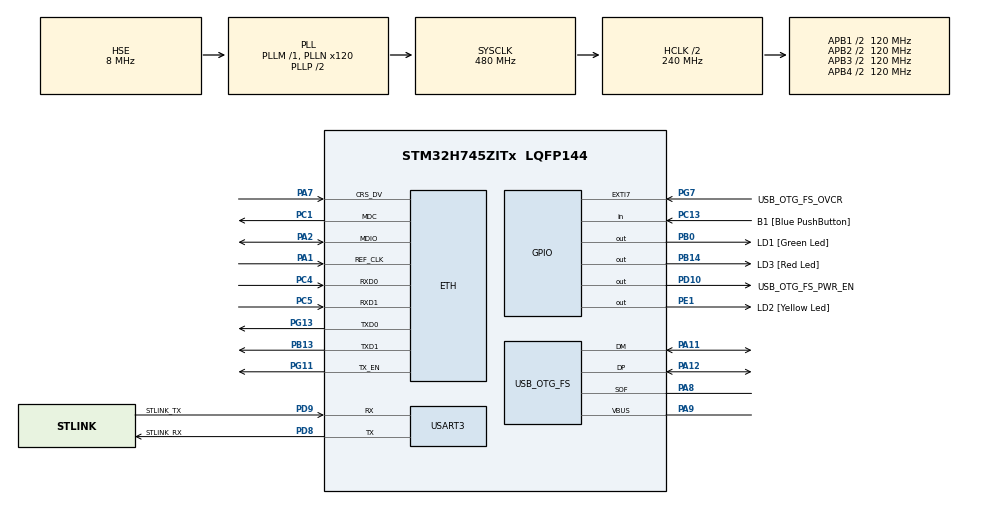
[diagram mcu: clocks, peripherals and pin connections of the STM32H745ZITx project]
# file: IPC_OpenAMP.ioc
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CORTEX_M7.AccessPermission-Cortex_Memory_Protection_Unit_Region0_Settings=MPU_REGION_FULL_ACCESS
CORTEX_M7.BaseAddress-Cortex_Memory_Protection_Unit_Region0_Settings=0x38000000
CORTEX_M7.CPU_DCache=Enabled
CORTEX_M7.CPU_ICache=Enabled
CORTEX_M7.Enable-Cortex_Memory_Protection_Unit_Region0_Settings=MPU_REGION_ENABLE
CORTEX_M7.IsShareable-Cortex_Memory_Protection_Unit_Region0_Settings=MPU_ACCESS_SHAREABLE
CORTEX_M7.MPU_Control=MPU_PRIVILEGED_DEFAULT
CORTEX_M7.Size-Cortex_Memory_Protection_Unit_Region0_Settings=MPU_REGION_SIZE_64KB
CortexM4.IPs=FATFS_M4\:I,FREERTOS_M4\:I,IWDG2\:I,RCC,WWDG2\:I,DMA,BDMA,MDMA,NVIC2\:I,USART3,ETH,DEBUG,USB_DEVICE_M4\:I,USB_HOST_M4\:I,PDM2PCM_M4\:I,PWR,RESMGR_UTILITY,SYS_M4\:I,CORTEX_M4\:I,OPENAMP_M4\:I,VREFBUF
CortexM4.Pins=PB14
CortexM7.IPs=FATFS_M7\:I,FREERTOS_M7\:I,IWDG1\:I,RCC\:I,WWDG1\:I,DMA\:I,BDMA\:I,MDMA\:I,NVIC1\:I,SYS\:I,USART3\:I,USB_OTG_FS\:I,ETH\:I,CORTEX_M7\:I,DEBUG\:I,USB_DEVICE_M7\:I,USB_HOST_M7\:I,PDM2PCM_M7\:I,PWR\:I,RESMGR_UTILITY\:I,OPENAMP_M7\:I,VREFBUF\:I
CortexM7.Pins=PC13,PB0,PE1
ETH.MediaInterface=HAL_ETH_RMII_MODE
Mcu.Family=STM32H7
Mcu.Name=STM32H745ZITx
Mcu.Package=LQFP144
NVIC1.HSEM1_IRQn=true\:0\:0\:false\:false\:true\:true\:true\:true
NVIC1.PriorityGroup=NVIC_PRIORITYGROUP_4
NVIC2.HSEM2_IRQn=true\:0\:0\:false\:false\:true\:true\:true\:true
NVIC2.PriorityGroup=NVIC_PRIORITYGROUP_4
PA1.Mode=RMII
PA1.PinAttribute=CortexM7
PA1.Signal=ETH_REF_CLK
PA11.Mode=Device_Only
PA11.PinAttribute=CortexM7
PA11.Signal=USB_OTG_FS_DM
PA12.Mode=Device_Only
PA12.PinAttribute=CortexM7
PA12.Signal=USB_OTG_FS_DP
PA2.Mode=RMII
PA2.PinAttribute=CortexM7
PA2.Signal=ETH_MDIO
PA7.Mode=RMII
PA7.PinAttribute=CortexM7
PA7.Signal=ETH_CRS_DV
PA8.Mode=Activate_SOF_FS
PA8.PinAttribute=CortexM7
PA8.Signal=USB_OTG_FS_SOF
PA9.Mode=Activate_VBUS
PA9.PinAttribute=CortexM7
PA9.Signal=USB_OTG_FS_VBUS
PB0.GPIO_Label=LD1 [Green Led]
PB0.PinAttribute=CortexM7
PB0.Signal=GPIO_Output
PB13.Mode=RMII
PB13.PinAttribute=CortexM7
PB13.Signal=ETH_TXD1
PB14.GPIO_Label=LD3 [Red Led]
PB14.PinAttribute=CortexM4
PB14.Signal=GPIO_Output
PC1.Mode=RMII
PC1.PinAttribute=CortexM7
PC1.Signal=ETH_MDC
PC13.GPIO_Label=B1 [Blue PushButton]
PC13.PinAttribute=CortexM7
PC13.Signal=GPIO_Input
PC14-OSC32_IN\ (OSC32_IN).Mode=LSE-External-Oscillator
PC14-OSC32_IN\ (OSC32_IN).PinAttribute=CortexM7
PC14-OSC32_IN\ (OSC32_IN).Signal=RCC_OSC32_IN
PC15-OSC32_OUT\ (OSC32_OUT).Mode=LSE-External-Oscillator
PC15-OSC32_OUT\ (OSC32_OUT).PinAttribute=CortexM7
PC15-OSC32_OUT\ (OSC32_OUT).Signal=RCC_OSC32_OUT
PC4.Mode=RMII
PC4.PinAttribute=CortexM7
PC4.Signal=ETH_RXD0
PC5.Mode=RMII
PC5.PinAttribute=CortexM7
PC5.Signal=ETH_RXD1
PD10.GPIO_Label=USB_OTG_FS_PWR_EN
PD10.PinAttribute=Free
PD10.Signal=GPIO_Output
PD8.GPIO_Label=STLINK_RX
PD8.Mode=Asynchronous
PD8.PinAttribute=CortexM7
PD8.Signal=USART3_TX
PD9.GPIO_Label=STLINK_TX
PD9.Mode=Asynchronous
PD9.PinAttribute=CortexM7
PD9.Signal=USART3_RX
PE1.GPIO_Label=LD2 [Yellow Led]
PE1.PinAttribute=CortexM7
PE1.Signal=GPIO_Output
PG11.Mode=RMII
PG11.PinAttribute=CortexM7
PG11.Signal=ETH_TX_EN
PG13.Mode=RMII
PG13.PinAttribute=CortexM7
PG13.Signal=ETH_TXD0
PG7.GPIO_Label=USB_OTG_FS_OVCR
PG7.PinAttribute=Free
PG7.Signal=GPXTI7
PH0-OSC_IN\ (PH0).Mode=HSE-External-Clock-Source
PH0-OSC_IN\ (PH0).PinAttribute=CortexM7
PH0-OSC_IN\ (PH0).Signal=RCC_OSC_IN
PH1-OSC_OUT\ (PH1).PinAttribute=CortexM7
PH1-OSC_OUT\ (PH1).Signal=RCC_OSC_OUT
ProjectManager.HeapSize=M4-0x200,M7-0x200
ProjectManager.StackSize=M4-0x400,M7-0x400
ProjectManager.TargetToolchain=STM32CubeIDE
RCC.ADCFreq_Value=16125000
RCC.APB1Freq_Value=120000000
RCC.APB2Freq_Value=120000000
RCC.APB3Freq_Value=120000000
RCC.APB4Freq_Value=120000000
RCC.CortexFreq_Value=480000000
RCC.D1PPRE=RCC_APB3_DIV2
RCC.D2PPRE1=RCC_APB1_DIV2
RCC.D2PPRE2=RCC_APB2_DIV2
RCC.D3PPRE=RCC_APB4_DIV2
RCC.DIVM1=1
RCC.DIVM3=1
RCC.DIVN1=120
RCC.DIVN3=24
RCC.DIVQ3=4
RCC.HCLKFreq_Value=240000000
RCC.HPRE=RCC_HCLK_DIV2
RCC.HSE_VALUE=8000000
RCC.PLL2FRACN=0
RCC.PLL3FRACN=0
RCC.PLLFRACN=0
RCC.SYSCLKFreq_VALUE=480000000
RCC.SYSCLKSource=RCC_SYSCLKSOURCE_PLLCLK
RCC.SupplySource=PWR_DIRECT_SMPS_SUPPLY
RCC.USBCLockSelection=RCC_USBCLKSOURCE_PLL3
RCC.USBFreq_Value=48000000
USART3.VirtualMode-Asynchronous=VM_ASYNC
USB_OTG_FS.VirtualMode=Device_Only
VP_OPENAMP_M4_VS_OPENAMP.Mode=OpenAmp_Enabled
VP_OPENAMP_M7_VS_OPENAMP.Mode=OpenAmp_Enabled
VP_SYS_M4_VS_Systick.Mode=SysTick
board=NUCLEO-H745ZI-Q

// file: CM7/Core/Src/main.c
/* USER CODE BEGIN Header */
/**
  ******************************************************************************
  * @file           : main.c
  * @brief          : Main program body
  ******************************************************************************
  * @attention
  *
  * Copyright (c) 2022 STMicroelectronics.
  * All rights reserved.
  *
  * This software is licensed under terms that can be found in the LICENSE file
  * in the root directory of this software component.
  * If no LICENSE file comes with this software, it is provided AS-IS.
  *
  ******************************************************************************
  */
/* USER CODE END Header */
#include "main.h"
#include "string.h"
#include "openamp.h"

/* USER CODE BEGIN PD */

#define RPMSG_CHAN_NAME "openamp_demo"

#ifndef HSEM_ID_0
#define HSEM_ID_0 (0U) /* HW semaphore 0*/
#endif
/* USER CODE END PD */

#if defined ( __ICCARM__ ) /*!< IAR Compiler */
#pragma location=0x30000000
ETH_DMADescTypeDef  DMARxDscrTab[ETH_RX_DESC_CNT]; /* Ethernet Rx DMA Descriptors */
#pragma location=0x30000200
ETH_DMADescTypeDef  DMATxDscrTab[ETH_TX_DESC_CNT]; /* Ethernet Tx DMA Descriptors */
#pragma location=0x30000260
uint8_t Rx_Buff[ETH_RX_DESC_CNT][ETH_MAX_PACKET_SIZE]; /* Ethernet Receive Buffers */

#elif defined ( __CC_ARM )  /* MDK ARM Compiler */

__attribute__((at(0x30000000))) ETH_DMADescTypeDef  DMARxDscrTab[ETH_RX_DESC_CNT]; /* Ethernet Rx DMA Descriptors */
__attribute__((at(0x30000200))) ETH_DMADescTypeDef  DMATxDscrTab[ETH_TX_DESC_CNT]; /* Ethernet Tx DMA Descriptors */
__attribute__((at(0x30000260))) uint8_t Rx_Buff[ETH_RX_DESC_CNT][ETH_MAX_PACKET_SIZE]; /* Ethernet Receive Buffer */

#elif defined ( __GNUC__ ) /* GNU Compiler */
ETH_DMADescTypeDef DMARxDscrTab[ETH_RX_DESC_CNT] __attribute__((section(".RxDecripSection"))); /* Ethernet Rx DMA Descriptors */
ETH_DMADescTypeDef DMATxDscrTab[ETH_TX_DESC_CNT] __attribute__((section(".TxDecripSection")));   /* Ethernet Tx DMA Descriptors */
uint8_t Rx_Buff[ETH_RX_DESC_CNT][ETH_MAX_PACKET_SIZE] __attribute__((section(".RxArraySection"))); /* Ethernet Receive Buffers */
#endif

ETH_TxPacketConfig TxConfig;

ETH_HandleTypeDef heth;

UART_HandleTypeDef huart3;

PCD_HandleTypeDef hpcd_USB_OTG_FS;

/* USER CODE BEGIN PV */
char str2cm4[] = "Bare-Metal programming - sending str from CM7 to CM4 core using OpenAMP framework";

static volatile int message_received;
static volatile int service_created;
volatile unsigned int received_data_str;
static struct rpmsg_endpoint rp_endpoint;

/* USER CODE END PV */

void SystemClock_Config(void);
static void MPU_Config(void);
static void MX_GPIO_Init(void);
static void MX_ETH_Init(void);
static void MX_USART3_UART_Init(void);
static void MX_USB_OTG_FS_PCD_Init(void);
/* USER CODE BEGIN PFP */

static int rpmsg_recv_callback(struct rpmsg_endpoint *ept, void *data, size_t len, uint32_t src, void *priv);

unsigned int receive_message(void);

void service_destroy_cb(struct rpmsg_endpoint *ept);

void new_service_cb(struct rpmsg_device *rdev, const char *name, uint32_t dest);

/* USER CODE END PFP */

/* USER CODE BEGIN 0 */
int __io_putchar(int ch)
{
    uint8_t c[1];
    c[0] = ch & 0x00FF;
    HAL_UART_Transmit(&huart3, &*c, 1, HAL_MAX_DELAY);
    return ch;
}

int _write(int file,char *ptr, int len)
{
    HAL_UART_Transmit(&huart3, (uint8_t *)ptr, len, HAL_MAX_DELAY);
    return len;
}
/* USER CODE END 0 */

int main(void)
{
  /* USER CODE BEGIN 1 */
uint8_t i=0;
  /* USER CODE END 1 */
/* USER CODE BEGIN Boot_Mode_Sequence_0 */
  int32_t timeout;
/* USER CODE END Boot_Mode_Sequence_0 */

  /* MPU Configuration--------------------------------------------------------*/
  MPU_Config();

  /* Enable I-Cache---------------------------------------------------------*/
  SCB_EnableICache();

  /* Enable D-Cache---------------------------------------------------------*/
  SCB_EnableDCache();

/* USER CODE BEGIN Boot_Mode_Sequence_1 */
  /* Wait until CPU2 boots and enters in stop mode or timeout*/
  timeout = 0xFFFF;
  while((__HAL_RCC_GET_FLAG(RCC_FLAG_D2CKRDY) != RESET) && (timeout-- > 0));
  if ( timeout < 0 )
  {
  Error_Handler();
  }
/* USER CODE END Boot_Mode_Sequence_1 */
  /* MCU Configuration--------------------------------------------------------*/

  /* Reset of all peripherals, Initializes the Flash interface and the Systick. */
  HAL_Init();

  /* Configure the system clock */
  SystemClock_Config();
/* USER CODE BEGIN Boot_Mode_Sequence_2 */
/* When system initialization is finished, Cortex-M7 will release Cortex-M4 by means of
HSEM notification */
/*HW semaphore Clock enable*/
__HAL_RCC_HSEM_CLK_ENABLE();
/*Take HSEM */
HAL_HSEM_FastTake(HSEM_ID_0);
/*Release HSEM in order to notify the CPU2(CM4)*/
HAL_HSEM_Release(HSEM_ID_0,0);
/* wait until CPU2 wakes up from stop mode */
timeout = 0xFFFF;
while((__HAL_RCC_GET_FLAG(RCC_FLAG_D2CKRDY) == RESET) && (timeout-- > 0));
if ( timeout < 0 )
{
Error_Handler();
}
/* USER CODE END Boot_Mode_Sequence_2 */

  /* Initialize all configured peripherals */
  MX_GPIO_Init();
  MX_ETH_Init();
  MX_USART3_UART_Init();
  MX_USB_OTG_FS_PCD_Init();
  /* USER CODE BEGIN 2 */
  int32_t status = 0;

  /* Initialize the mailbox use notify the other core on new message */
  //printf("String: %s\n\r", "Init Open AMP M7");
  MAILBOX_Init();

  /* Initialize the rpmsg endpoint to set default addresses to RPMSG_ADDR_ANY */
  //printf("String: %s\n\r", "Init RPMSG M7");
  rpmsg_init_ept(&rp_endpoint, RPMSG_CHAN_NAME, RPMSG_ADDR_ANY, RPMSG_ADDR_ANY, NULL, NULL);
  //printf("String: %s\n\r", "Init EP M7");
  /* Initialize OpenAmp and libmetal libraries */
  if (MX_OPENAMP_Init(RPMSG_MASTER, new_service_cb)!= HAL_OK)
  {
  //printf("String: %s\n\r", "Init EP Error M7");
  Error_Handler();
  }

  /*
  *	The rpmsg service is initiate by the remote processor, on A7 new_service_cb
  *	callback is received on service creation. Wait for the callback
  */
  HAL_GPIO_TogglePin(LD1_GPIO_Port, LD1_Pin);
  //printf("String: %s\n\r", "wait on M4 from M7");
  OPENAMP_Wait_EndPointready(&rp_endpoint);

  while(i<5)
  {
	  HAL_GPIO_TogglePin(LD1_GPIO_Port, LD1_Pin);
	  status = OPENAMP_send(&rp_endpoint, str2cm4, strlen(str2cm4) +1);
	  HAL_Delay(1000);
	  if (status < 0)
	  {
		  Error_Handler();
	  }
	  i++;
 }
  /* Wait that service is destroyed on remote side */
  while(service_created)
  {
  OPENAMP_check_for_message();
  }

  /* De-initialize OpenAMP */
  OPENAMP_DeInit();
  /* USER CODE END 2 */

  /* Infinite loop */
  while (1)
  {

  }
}

void SystemClock_Config(void)
{
  RCC_OscInitTypeDef RCC_OscInitStruct = {0};
  RCC_ClkInitTypeDef RCC_ClkInitStruct = {0};

  /** Supply configuration update enable
  */
  HAL_PWREx_ConfigSupply(PWR_DIRECT_SMPS_SUPPLY);

  /** Configure the main internal regulator output voltage
  */
  __HAL_PWR_VOLTAGESCALING_CONFIG(PWR_REGULATOR_VOLTAGE_SCALE0);

  while(!__HAL_PWR_GET_FLAG(PWR_FLAG_VOSRDY)) {}

  /** Macro to configure the PLL clock source
  */
  __HAL_RCC_PLL_PLLSOURCE_CONFIG(RCC_PLLSOURCE_HSE);

  /** Initializes the RCC Oscillators according to the specified parameters
  * in the RCC_OscInitTypeDef structure.
  */
  RCC_OscInitStruct.OscillatorType = RCC_OSCILLATORTYPE_HSE;
  RCC_OscInitStruct.HSEState = RCC_HSE_BYPASS;
  RCC_OscInitStruct.PLL.PLLState = RCC_PLL_ON;
  RCC_OscInitStruct.PLL.PLLSource = RCC_PLLSOURCE_HSE;
  RCC_OscInitStruct.PLL.PLLM = 1;
  RCC_OscInitStruct.PLL.PLLN = 120;
  RCC_OscInitStruct.PLL.PLLP = 2;
  RCC_OscInitStruct.PLL.PLLQ = 2;
  RCC_OscInitStruct.PLL.PLLR = 2;
  RCC_OscInitStruct.PLL.PLLRGE = RCC_PLL1VCIRANGE_3;
  RCC_OscInitStruct.PLL.PLLVCOSEL = RCC_PLL1VCOWIDE;
  RCC_OscInitStruct.PLL.PLLFRACN = 0;
  if (HAL_RCC_OscConfig(&RCC_OscInitStruct) != HAL_OK)
  {
    Error_Handler();
  }

  /** Initializes the CPU, AHB and APB buses clocks
  */
  RCC_ClkInitStruct.ClockType = RCC_CLOCKTYPE_HCLK|RCC_CLOCKTYPE_SYSCLK
                              |RCC_CLOCKTYPE_PCLK1|RCC_CLOCKTYPE_PCLK2
                              |RCC_CLOCKTYPE_D3PCLK1|RCC_CLOCKTYPE_D1PCLK1;
  RCC_ClkInitStruct.SYSCLKSource = RCC_SYSCLKSOURCE_PLLCLK;
  RCC_ClkInitStruct.SYSCLKDivider = RCC_SYSCLK_DIV1;
  RCC_ClkInitStruct.AHBCLKDivider = RCC_HCLK_DIV2;
  RCC_ClkInitStruct.APB3CLKDivider = RCC_APB3_DIV2;
  RCC_ClkInitStruct.APB1CLKDivider = RCC_APB1_DIV2;
  RCC_ClkInitStruct.APB2CLKDivider = RCC_APB2_DIV2;
  RCC_ClkInitStruct.APB4CLKDivider = RCC_APB4_DIV2;

  if (HAL_RCC_ClockConfig(&RCC_ClkInitStruct, FLASH_LATENCY_4) != HAL_OK)
  {
    Error_Handler();
  }
}

static void MX_ETH_Init(void)
{

   static uint8_t MACAddr[6];

  heth.Instance = ETH;
  MACAddr[0] = 0x00;
  MACAddr[1] = 0x80;
  MACAddr[2] = 0xE1;
  MACAddr[3] = 0x00;
  MACAddr[4] = 0x00;
  MACAddr[5] = 0x00;
  heth.Init.MACAddr = &MACAddr[0];
  heth.Init.MediaInterface = HAL_ETH_RMII_MODE;
  heth.Init.TxDesc = DMATxDscrTab;
  heth.Init.RxDesc = DMARxDscrTab;
  heth.Init.RxBuffLen = 1524;

  if (HAL_ETH_Init(&heth) != HAL_OK)
  {
    Error_Handler();
  }

  memset(&TxConfig, 0 , sizeof(ETH_TxPacketConfig));
  TxConfig.Attributes = ETH_TX_PACKETS_FEATURES_CSUM | ETH_TX_PACKETS_FEATURES_CRCPAD;
  TxConfig.ChecksumCtrl = ETH_CHECKSUM_IPHDR_PAYLOAD_INSERT_PHDR_CALC;
  TxConfig.CRCPadCtrl = ETH_CRC_PAD_INSERT;

}

static void MX_USART3_UART_Init(void)
{

  huart3.Instance = USART3;
  huart3.Init.BaudRate = 115200;
  huart3.Init.WordLength = UART_WORDLENGTH_8B;
  huart3.Init.StopBits = UART_STOPBITS_1;
  huart3.Init.Parity = UART_PARITY_NONE;
  huart3.Init.Mode = UART_MODE_TX_RX;
  huart3.Init.HwFlowCtl = UART_HWCONTROL_NONE;
  huart3.Init.OverSampling = UART_OVERSAMPLING_16;
  huart3.Init.OneBitSampling = UART_ONE_BIT_SAMPLE_DISABLE;
  huart3.Init.ClockPrescaler = UART_PRESCALER_DIV1;
  huart3.AdvancedInit.AdvFeatureInit = UART_ADVFEATURE_NO_INIT;
  if (HAL_UART_Init(&huart3) != HAL_OK)
  {
    Error_Handler();
  }
  if (HAL_UARTEx_SetTxFifoThreshold(&huart3, UART_TXFIFO_THRESHOLD_1_8) != HAL_OK)
  {
    Error_Handler();
  }
  if (HAL_UARTEx_SetRxFifoThreshold(&huart3, UART_RXFIFO_THRESHOLD_1_8) != HAL_OK)
  {
    Error_Handler();
  }
  if (HAL_UARTEx_DisableFifoMode(&huart3) != HAL_OK)
  {
    Error_Handler();
  }

}

static void MX_USB_OTG_FS_PCD_Init(void)
{

  hpcd_USB_OTG_FS.Instance = USB_OTG_FS;
  hpcd_USB_OTG_FS.Init.dev_endpoints = 9;
  hpcd_USB_OTG_FS.Init.speed = PCD_SPEED_FULL;
  hpcd_USB_OTG_FS.Init.dma_enable = DISABLE;
  hpcd_USB_OTG_FS.Init.phy_itface = PCD_PHY_EMBEDDED;
  hpcd_USB_OTG_FS.Init.Sof_enable = DISABLE;
  hpcd_USB_OTG_FS.Init.low_power_enable = DISABLE;
  hpcd_USB_OTG_FS.Init.lpm_enable = DISABLE;
  hpcd_USB_OTG_FS.Init.battery_charging_enable = ENABLE;
  hpcd_USB_OTG_FS.Init.vbus_sensing_enable = ENABLE;
  hpcd_USB_OTG_FS.Init.use_dedicated_ep1 = DISABLE;
  if (HAL_PCD_Init(&hpcd_USB_OTG_FS) != HAL_OK)
  {
    Error_Handler();
  }

}

static void MX_GPIO_Init(void)
{
  GPIO_InitTypeDef GPIO_InitStruct = {0};

  /* GPIO Ports Clock Enable */
  __HAL_RCC_GPIOC_CLK_ENABLE();
  __HAL_RCC_GPIOH_CLK_ENABLE();
  __HAL_RCC_GPIOA_CLK_ENABLE();
  __HAL_RCC_GPIOB_CLK_ENABLE();
  __HAL_RCC_GPIOD_CLK_ENABLE();
  __HAL_RCC_GPIOG_CLK_ENABLE();
  __HAL_RCC_GPIOE_CLK_ENABLE();

  /*Configure GPIO pin Output Level */
  HAL_GPIO_WritePin(LD1_GPIO_Port, LD1_Pin, GPIO_PIN_RESET);

  /*Configure GPIO pin Output Level */
  HAL_GPIO_WritePin(LD2_GPIO_Port, LD2_Pin, GPIO_PIN_RESET);

  /*Configure GPIO pin : B1_Pin */
  GPIO_InitStruct.Pin = B1_Pin;
  GPIO_InitStruct.Mode = GPIO_MODE_INPUT;
  GPIO_InitStruct.Pull = GPIO_NOPULL;
  HAL_GPIO_Init(B1_GPIO_Port, &GPIO_InitStruct);

  /*Configure GPIO pin : LD1_Pin */
  GPIO_InitStruct.Pin = LD1_Pin;
  GPIO_InitStruct.Mode = GPIO_MODE_OUTPUT_PP;
  GPIO_InitStruct.Pull = GPIO_NOPULL;
  GPIO_InitStruct.Speed = GPIO_SPEED_FREQ_LOW;
  HAL_GPIO_Init(LD1_GPIO_Port, &GPIO_InitStruct);

  /*Configure GPIO pin : LD2_Pin */
  GPIO_InitStruct.Pin = LD2_Pin;
  GPIO_InitStruct.Mode = GPIO_MODE_OUTPUT_PP;
  GPIO_InitStruct.Pull = GPIO_NOPULL;
  GPIO_InitStruct.Speed = GPIO_SPEED_FREQ_LOW;
  HAL_GPIO_Init(LD2_GPIO_Port, &GPIO_InitStruct);

}

/* USER CODE BEGIN 4 */
static int rpmsg_recv_callback(struct rpmsg_endpoint *ept, void *data, size_t len, uint32_t src, void *priv)
{
received_data_str = *((unsigned int *) data);
message_received=1;
return 0;
}
void service_destroy_cb(struct rpmsg_endpoint *ept)
{
/* this function is called while remote endpoint as been destroyed, the
* service is no more available
*/
service_created = 0;
}
void new_service_cb(struct rpmsg_device *rdev, const char *name, uint32_t dest)
{
/* create a endpoint for rmpsg communication */
OPENAMP_create_endpoint(&rp_endpoint, name, dest, rpmsg_recv_callback,service_destroy_cb);
service_created = 1;
}
/* USER CODE END 4 */

/* MPU Configuration */

void MPU_Config(void)
{
  MPU_Region_InitTypeDef MPU_InitStruct = {0};

  /* Disables the MPU */
  HAL_MPU_Disable();

  /** Initializes and configures the Region and the memory to be protected
  */
  MPU_InitStruct.Enable = MPU_REGION_ENABLE;
  MPU_InitStruct.Number = MPU_REGION_NUMBER0;
  MPU_InitStruct.BaseAddress = 0x38000000;
  MPU_InitStruct.Size = MPU_REGION_SIZE_64KB;
  MPU_InitStruct.SubRegionDisable = 0x0;
  MPU_InitStruct.TypeExtField = MPU_TEX_LEVEL0;
  MPU_InitStruct.AccessPermission = MPU_REGION_FULL_ACCESS;
  MPU_InitStruct.DisableExec = MPU_INSTRUCTION_ACCESS_ENABLE;
  MPU_InitStruct.IsShareable = MPU_ACCESS_SHAREABLE;
  MPU_InitStruct.IsCacheable = MPU_ACCESS_NOT_CACHEABLE;
  MPU_InitStruct.IsBufferable = MPU_ACCESS_NOT_BUFFERABLE;

  HAL_MPU_ConfigRegion(&MPU_InitStruct);
  /* Enables the MPU */
  HAL_MPU_Enable(MPU_PRIVILEGED_DEFAULT);

}

void Error_Handler(void)
{
  __disable_irq();
  while (1)
  {
  }
}
